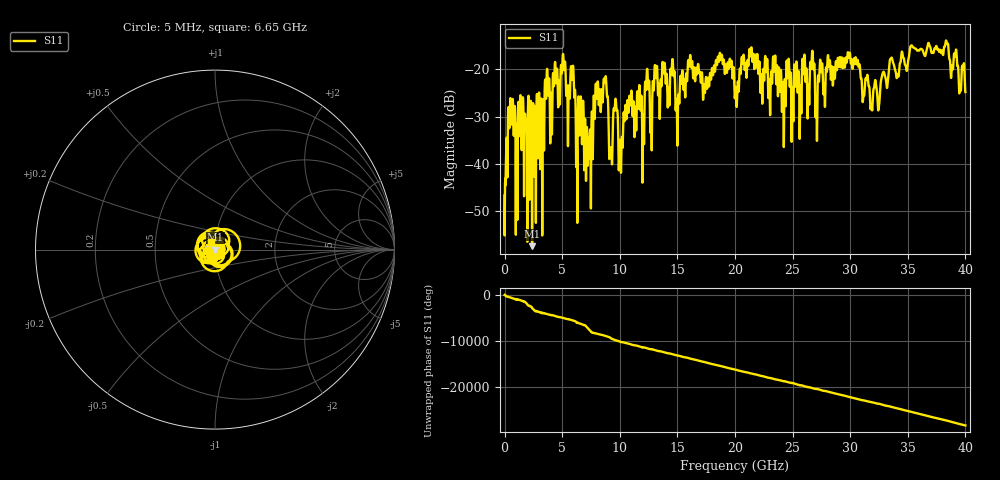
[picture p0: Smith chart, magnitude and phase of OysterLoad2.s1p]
# MHz MA S R 50.0
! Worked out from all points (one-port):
!   8000 points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, 5 MHz to 40 GHz, reference 50 ohm
!   lowest |S11| = -57.3 dB at 2.39 GHz (marker M1), VSWR 1.00, Z = 50.1 + j0.0253 ohm
!   |S11| at or under -10 dB: start of sweep to end of sweep
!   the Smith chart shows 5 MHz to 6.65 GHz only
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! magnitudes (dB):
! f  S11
! 5 MHz  -46.6
! 515 MHz  -26.1
! 960 MHz  -38.8
! 2.39 GHz  -57.3
! 5.005 GHz  -19.7
! 5.51 GHz  -35.6
! 5.92 GHz  -19.6
! 6.345 GHz  -34.2
! 7.33 GHz  -37.1
! 7.915 GHz  -23.1
! 8.755 GHz  -21.6
! 9.2 GHz  -37.1
! 9.625 GHz  -26.3
! 10.01 GHz  -35.0
! 10.84 GHz  -25.6
! 11.96 GHz  -38.8
! 13.07 GHz  -19.5
! 14.59 GHz  -17.9
! 15.01 GHz  -36.1
! 16.11 GHz  -17.1
! 20 GHz  -25.7
! 21.42 GHz  -15.4
! 25 GHz  -24.0
! 30 GHz  -17.3
! 31.87 GHz  -27.9
! 35.01 GHz  -18.6
! 38.34 GHz  -14.0
! 40 GHz  -24.8
